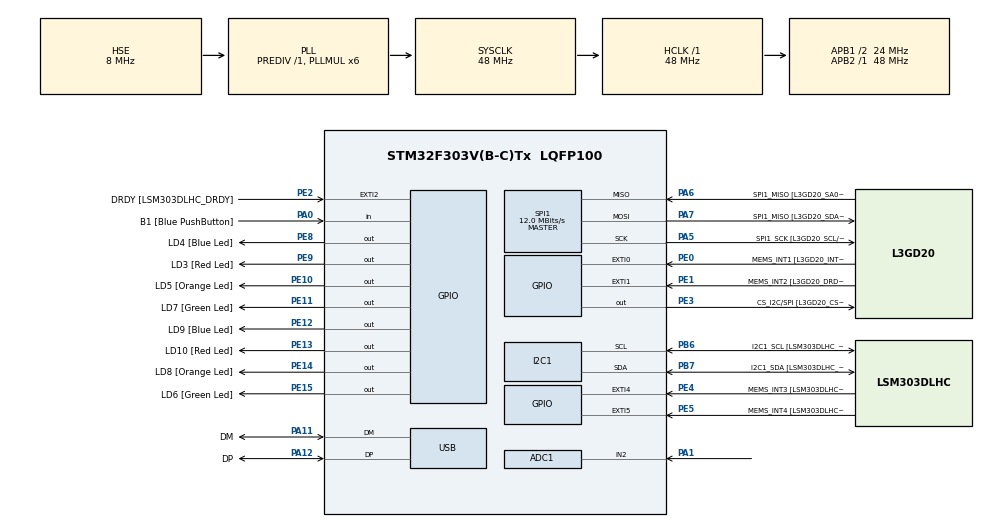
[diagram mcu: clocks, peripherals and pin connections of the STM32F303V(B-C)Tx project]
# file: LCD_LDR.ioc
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ADC1.Channel-0\#ChannelRegularConversion=ADC_CHANNEL_2
ADC1.ClockPrescaler=ADC_CLOCK_SYNC_PCLK_DIV2
ADC1.NbrOfConversionFlag=1
ADC1.Offset-0\#ChannelRegularConversion=0
ADC1.OffsetNumber-0\#ChannelRegularConversion=ADC_OFFSET_NONE
ADC1.Rank-0\#ChannelRegularConversion=1
ADC1.SamplingTime-0\#ChannelRegularConversion=ADC_SAMPLETIME_19CYCLES_5
ADC1.SamplingTimeOPAMP-0\#ChannelRegularConversion=ADC_SAMPLETIME_19CYCLES_5
ADC1.master=1
I2C1.Timing=0x00201D2B
I2C1.Timing-I2C=0x2000090E
Mcu.Family=STM32F3
Mcu.Name=STM32F303V(B-C)Tx
Mcu.Package=LQFP100
NVIC.PriorityGroup=NVIC_PRIORITYGROUP_0
PA0.GPIO_Label=B1 [Blue PushButton]
PA0.Signal=GPIO_Input
PA1.Mode=IN2-Single-Ended
PA1.Signal=ADC1_IN2
PA11.GPIO_Label=DM
PA11.Mode=Device
PA11.Signal=USB_DM
PA12.GPIO_Label=DP
PA12.Mode=Device
PA12.Signal=USB_DP
PA13.GPIO_Label=SWDIO
PA13.Mode=Serial_Wire
PA13.Signal=SYS_JTMS-SWDIO
PA14.GPIO_Label=SWCLK
PA14.Mode=Serial_Wire
PA14.Signal=SYS_JTCK-SWCLK
PA5.GPIO_Label=SPI1_SCK [L3GD20_SCL/SPC]
PA5.Mode=Full_Duplex_Master
PA5.Signal=SPI1_SCK
PA6.GPIO_Label=SPI1_MISO [L3GD20_SA0/SDO]
PA6.Mode=Full_Duplex_Master
PA6.Signal=SPI1_MISO
PA7.GPIO_Label=SPI1_MISO [L3GD20_SDA/SDI/SDO]
PA7.Mode=Full_Duplex_Master
PA7.Signal=SPI1_MOSI
PB3.GPIO_Label=SWO
PB3.Signal=SYS_JTDO-TRACESWO
PB6.GPIO_Label=I2C1_SCL [LSM303DLHC_SCL]
PB6.GPIO_Pu=GPIO_PULLUP
PB6.Mode=I2C
PB6.Signal=I2C1_SCL
PB7.GPIO_Label=I2C1_SDA [LSM303DLHC_SDA]
PB7.GPIO_Pu=GPIO_PULLUP
PB7.Mode=I2C
PB7.Signal=I2C1_SDA
PC14-OSC32_IN.GPIO_Label=OSC32_IN
PC14-OSC32_IN.Signal=RCC_OSC32_IN
PC15-OSC32_OUT.GPIO_Label=OSC32_OUT
PC15-OSC32_OUT.Signal=RCC_OSC32_OUT
PE0.GPIO_Label=MEMS_INT1 [L3GD20_INT1]
PE0.GPIO_ModeDefaultEXTI=GPIO_MODE_EVT_RISING
PE0.Signal=GPXTI0
PE1.GPIO_Label=MEMS_INT2 [L3GD20_DRDY/INT2]
PE1.GPIO_ModeDefaultEXTI=GPIO_MODE_EVT_RISING
PE1.Signal=GPXTI1
PE10.GPIO_Label=LD5 [Orange Led]
PE10.Signal=GPIO_Output
PE11.GPIO_Label=LD7 [Green Led]
PE11.Signal=GPIO_Output
PE12.GPIO_Label=LD9 [Blue Led]
PE12.Signal=GPIO_Output
PE13.GPIO_Label=LD10 [Red Led]
PE13.Signal=GPIO_Output
PE14.GPIO_Label=LD8 [Orange Led]
PE14.Signal=GPIO_Output
PE15.GPIO_Label=LD6 [Green Led]
PE15.Signal=GPIO_Output
PE2.GPIO_Label=DRDY [LSM303DLHC_DRDY]
PE2.GPIO_ModeDefaultEXTI=GPIO_MODE_EVT_RISING
PE2.Signal=GPXTI2
PE3.GPIO_Label=CS_I2C/SPI [L3GD20_CS_I2C/SPI]
PE3.Signal=GPIO_Output
PE4.GPIO_Label=MEMS_INT3 [LSM303DLHC_INT1]
PE4.GPIO_ModeDefaultEXTI=GPIO_MODE_EVT_RISING
PE4.Signal=GPXTI4
PE5.GPIO_Label=MEMS_INT4 [LSM303DLHC_INT2]
PE5.GPIO_ModeDefaultEXTI=GPIO_MODE_EVT_RISING
PE5.Signal=GPXTI5
PE8.GPIO_Label=LD4 [Blue Led]
PE8.Signal=GPIO_Output
PE9.GPIO_Label=LD3 [Red Led]
PE9.Signal=GPIO_Output
PF0-OSC_IN.GPIO_Label=OSC_IN
PF0-OSC_IN.Mode=HSE-External-Clock-Source
PF0-OSC_IN.Signal=RCC_OSC_IN
PF1-OSC_OUT.GPIO_Label=OSC_OUT
PF1-OSC_OUT.Signal=RCC_OSC_OUT
ProjectManager.HeapSize=0x200
ProjectManager.StackSize=0x400
ProjectManager.TargetToolchain=STM32CubeIDE
RCC.AHBFreq_Value=48000000
RCC.APB1CLKDivider=RCC_HCLK_DIV2
RCC.APB1Freq_Value=24000000
RCC.APB1TimFreq_Value=48000000
RCC.APB2Freq_Value=48000000
RCC.APB2TimFreq_Value=48000000
RCC.CortexFreq_Value=48000000
RCC.HCLKFreq_Value=48000000
RCC.HSE_VALUE=8000000
RCC.HSI_VALUE=8000000
RCC.LSE_VALUE=32768
RCC.PLLMUL=RCC_PLL_MUL6
RCC.SYSCLKFreq_VALUE=48000000
RCC.SYSCLKSourceVirtual=RCC_SYSCLKSOURCE_PLLCLK
RCC.USBFreq_Value=48000000
SPI1.BaudRatePrescaler=SPI_BAUDRATEPRESCALER_4
SPI1.BaudRatePrescaler-Full_Duplex_Master=SPI_BAUDRATEPRESCALER_2
SPI1.CalculateBaudRate=12.0 MBits/s
SPI1.CalculateBaudRate-Full_Duplex_Master=24.0 MBits/s
SPI1.Direction=SPI_DIRECTION_2LINES
SPI1.Mode=SPI_MODE_MASTER
SPI1.Mode-Full_Duplex_Master=SPI_MODE_MASTER
SPI1.VirtualType=VM_MASTER
board=STM32F3DISCOVERY

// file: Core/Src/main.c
/* USER CODE BEGIN Header */
/**
  ******************************************************************************
  * @file           : main.c USING HAL
  * @brief          : Main program body
  ******************************************************************************
  * @attention
  *
  * Copyright (c) 2025 STMicroelectronics.
  * All rights reserved.
  *
  * This software is licensed under terms that can be found in the LICENSE file
  * in the root directory of this software component.
  * If no LICENSE file comes with this software, it is provided AS-IS.
  *
  ******************************************************************************
  */
/* USER CODE END Header */
#include "main.h"

/* USER CODE BEGIN Includes */
#include "stm32f3xx_hal.h"
#include "stdio.h"
#include "string.h"
#include "i2c.h"
/* USER CODE END Includes */

/* USER CODE BEGIN PD */
#define LIGHT_THRESHOLD 3400

/* USER CODE END PD */

ADC_HandleTypeDef hadc1;

I2C_HandleTypeDef hi2c1;

SPI_HandleTypeDef hspi1;

PCD_HandleTypeDef hpcd_USB_FS;

/* USER CODE BEGIN PV */
uint16_t lux=0;
char msg[20];

/* USER CODE END PV */

void SystemClock_Config(void);
static void MX_GPIO_Init(void);
static void MX_I2C1_Init(void);
static void MX_SPI1_Init(void);
static void MX_USB_PCD_Init(void);
static void MX_ADC1_Init(void);

int main(void)
{

  /* MCU Configuration--------------------------------------------------------*/

  /* Reset of all peripherals, Initializes the Flash interface and the Systick. */
  HAL_Init();

  /* Configure the system clock */
  SystemClock_Config();

  /* Initialize all configured peripherals */
  MX_GPIO_Init();
  MX_I2C1_Init();
  MX_SPI1_Init();
  MX_USB_PCD_Init();
  MX_ADC1_Init();
  /* USER CODE BEGIN 2 */

  HD44780_Init(2);
  HD44780_Backlight();

  uint8_t last_state = 255; // Invalid initial state to force first update

  //Normal static Printing
  //testing begin
//  HD44780_SetCursor(0,0);
//  HD44780_PrintStr("Place crystal");
//  HD44780_SetCursor(0,1);
//  HD44780_PrintStr("on handle!");
  //testing end
  /* USER CODE END 2 */

  /* Infinite loop */
  /* USER CODE BEGIN WHILE */
  while (1)
  {
	  HAL_ADC_Start(&hadc1);
	  HAL_ADC_PollForConversion(&hadc1, 20);
	  lux = HAL_ADC_GetValue(&hadc1);

	  uint8_t current_state = (lux > LIGHT_THRESHOLD) ? 1 : 0;

//	  //testing begin
//	  if (lux > LIGHT_THRESHOLD) {
//	      HD44780_Clear();
//	      HD44780_SetCursor(0, 0);
//	      HD44780_PrintStr("Light: ");
//
//	      sprintf(msg, "%hu", lux);
//	      HD44780_SetCursor(0, 7);
//	      HD44780_PrintStr(msg);
//	  } else {
//	      // clear display if it's too dark
//	      HD44780_Clear();
//		}
////	  //testing end

	  //real begin
	  if (current_state != last_state) {
	          HD44780_Clear();

	          if (current_state) {
	              HD44780_SetCursor(0, 0);
	              HD44780_PrintStr("Place crystal");
	              HD44780_SetCursor(0, 1);
	              HD44780_PrintStr("on handle!");
	          } else {
	              HD44780_SetCursor(0, 0);
	              HD44780_PrintStr("Too dark...");
	          }

	          last_state = current_state;
	      }
//	  // real end
	  }

	  HAL_Delay(500);

    /* USER CODE END WHILE */

}
void SystemClock_Config(void)
{
  RCC_OscInitTypeDef RCC_OscInitStruct = {0};
  RCC_ClkInitTypeDef RCC_ClkInitStruct = {0};
  RCC_PeriphCLKInitTypeDef PeriphClkInit = {0};

  /** Initializes the RCC Oscillators according to the specified parameters
  * in the RCC_OscInitTypeDef structure.
  */
  RCC_OscInitStruct.OscillatorType = RCC_OSCILLATORTYPE_HSI|RCC_OSCILLATORTYPE_HSE;
  RCC_OscInitStruct.HSEState = RCC_HSE_BYPASS;
  RCC_OscInitStruct.HSEPredivValue = RCC_HSE_PREDIV_DIV1;
  RCC_OscInitStruct.HSIState = RCC_HSI_ON;
  RCC_OscInitStruct.HSICalibrationValue = RCC_HSICALIBRATION_DEFAULT;
  RCC_OscInitStruct.PLL.PLLState = RCC_PLL_ON;
  RCC_OscInitStruct.PLL.PLLSource = RCC_PLLSOURCE_HSE;
  RCC_OscInitStruct.PLL.PLLMUL = RCC_PLL_MUL6;
  if (HAL_RCC_OscConfig(&RCC_OscInitStruct) != HAL_OK)
  {
    Error_Handler();
  }

  /** Initializes the CPU, AHB and APB buses clocks
  */
  RCC_ClkInitStruct.ClockType = RCC_CLOCKTYPE_HCLK|RCC_CLOCKTYPE_SYSCLK
                              |RCC_CLOCKTYPE_PCLK1|RCC_CLOCKTYPE_PCLK2;
  RCC_ClkInitStruct.SYSCLKSource = RCC_SYSCLKSOURCE_PLLCLK;
  RCC_ClkInitStruct.AHBCLKDivider = RCC_SYSCLK_DIV1;
  RCC_ClkInitStruct.APB1CLKDivider = RCC_HCLK_DIV2;
  RCC_ClkInitStruct.APB2CLKDivider = RCC_HCLK_DIV1;

  if (HAL_RCC_ClockConfig(&RCC_ClkInitStruct, FLASH_LATENCY_1) != HAL_OK)
  {
    Error_Handler();
  }
  PeriphClkInit.PeriphClockSelection = RCC_PERIPHCLK_USB|RCC_PERIPHCLK_I2C1;
  PeriphClkInit.I2c1ClockSelection = RCC_I2C1CLKSOURCE_HSI;
  PeriphClkInit.USBClockSelection = RCC_USBCLKSOURCE_PLL;
  if (HAL_RCCEx_PeriphCLKConfig(&PeriphClkInit) != HAL_OK)
  {
    Error_Handler();
  }
}

static void MX_ADC1_Init(void)
{

  ADC_MultiModeTypeDef multimode = {0};
  ADC_ChannelConfTypeDef sConfig = {0};

  /** Common config
  */
  hadc1.Instance = ADC1;
  hadc1.Init.ClockPrescaler = ADC_CLOCK_SYNC_PCLK_DIV2;
  hadc1.Init.Resolution = ADC_RESOLUTION_12B;
  hadc1.Init.ScanConvMode = ADC_SCAN_DISABLE;
  hadc1.Init.ContinuousConvMode = DISABLE;
  hadc1.Init.DiscontinuousConvMode = DISABLE;
  hadc1.Init.ExternalTrigConvEdge = ADC_EXTERNALTRIGCONVEDGE_NONE;
  hadc1.Init.ExternalTrigConv = ADC_SOFTWARE_START;
  hadc1.Init.DataAlign = ADC_DATAALIGN_RIGHT;
  hadc1.Init.NbrOfConversion = 1;
  hadc1.Init.DMAContinuousRequests = DISABLE;
  hadc1.Init.EOCSelection = ADC_EOC_SINGLE_CONV;
  hadc1.Init.LowPowerAutoWait = DISABLE;
  hadc1.Init.Overrun = ADC_OVR_DATA_OVERWRITTEN;
  if (HAL_ADC_Init(&hadc1) != HAL_OK)
  {
    Error_Handler();
  }

  /** Configure the ADC multi-mode
  */
  multimode.Mode = ADC_MODE_INDEPENDENT;
  if (HAL_ADCEx_MultiModeConfigChannel(&hadc1, &multimode) != HAL_OK)
  {
    Error_Handler();
  }

  /** Configure Regular Channel
  */
  sConfig.Channel = ADC_CHANNEL_2;
  sConfig.Rank = ADC_REGULAR_RANK_1;
  sConfig.SingleDiff = ADC_SINGLE_ENDED;
  sConfig.SamplingTime = ADC_SAMPLETIME_19CYCLES_5;
  sConfig.OffsetNumber = ADC_OFFSET_NONE;
  sConfig.Offset = 0;
  if (HAL_ADC_ConfigChannel(&hadc1, &sConfig) != HAL_OK)
  {
    Error_Handler();
  }

}

static void MX_I2C1_Init(void)
{

  hi2c1.Instance = I2C1;
  hi2c1.Init.Timing = 0x00201D2B;
  hi2c1.Init.OwnAddress1 = 0;
  hi2c1.Init.AddressingMode = I2C_ADDRESSINGMODE_7BIT;
  hi2c1.Init.DualAddressMode = I2C_DUALADDRESS_DISABLE;
  hi2c1.Init.OwnAddress2 = 0;
  hi2c1.Init.OwnAddress2Masks = I2C_OA2_NOMASK;
  hi2c1.Init.GeneralCallMode = I2C_GENERALCALL_DISABLE;
  hi2c1.Init.NoStretchMode = I2C_NOSTRETCH_DISABLE;
  if (HAL_I2C_Init(&hi2c1) != HAL_OK)
  {
    Error_Handler();
  }

  /** Configure Analogue filter
  */
  if (HAL_I2CEx_ConfigAnalogFilter(&hi2c1, I2C_ANALOGFILTER_ENABLE) != HAL_OK)
  {
    Error_Handler();
  }

  /** Configure Digital filter
  */
  if (HAL_I2CEx_ConfigDigitalFilter(&hi2c1, 0) != HAL_OK)
  {
    Error_Handler();
  }

}

static void MX_SPI1_Init(void)
{

  /* SPI1 parameter configuration*/
  hspi1.Instance = SPI1;
  hspi1.Init.Mode = SPI_MODE_MASTER;
  hspi1.Init.Direction = SPI_DIRECTION_2LINES;
  hspi1.Init.DataSize = SPI_DATASIZE_4BIT;
  hspi1.Init.CLKPolarity = SPI_POLARITY_LOW;
  hspi1.Init.CLKPhase = SPI_PHASE_1EDGE;
  hspi1.Init.NSS = SPI_NSS_SOFT;
  hspi1.Init.BaudRatePrescaler = SPI_BAUDRATEPRESCALER_4;
  hspi1.Init.FirstBit = SPI_FIRSTBIT_MSB;
  hspi1.Init.TIMode = SPI_TIMODE_DISABLE;
  hspi1.Init.CRCCalculation = SPI_CRCCALCULATION_DISABLE;
  hspi1.Init.CRCPolynomial = 7;
  hspi1.Init.CRCLength = SPI_CRC_LENGTH_DATASIZE;
  hspi1.Init.NSSPMode = SPI_NSS_PULSE_ENABLE;
  if (HAL_SPI_Init(&hspi1) != HAL_OK)
  {
    Error_Handler();
  }

}

static void MX_USB_PCD_Init(void)
{

  hpcd_USB_FS.Instance = USB;
  hpcd_USB_FS.Init.dev_endpoints = 8;
  hpcd_USB_FS.Init.speed = PCD_SPEED_FULL;
  hpcd_USB_FS.Init.phy_itface = PCD_PHY_EMBEDDED;
  hpcd_USB_FS.Init.low_power_enable = DISABLE;
  hpcd_USB_FS.Init.battery_charging_enable = DISABLE;
  if (HAL_PCD_Init(&hpcd_USB_FS) != HAL_OK)
  {
    Error_Handler();
  }

}

static void MX_GPIO_Init(void)
{
  GPIO_InitTypeDef GPIO_InitStruct = {0};

  /* GPIO Ports Clock Enable */
  __HAL_RCC_GPIOE_CLK_ENABLE();
  __HAL_RCC_GPIOC_CLK_ENABLE();
  __HAL_RCC_GPIOF_CLK_ENABLE();
  __HAL_RCC_GPIOA_CLK_ENABLE();
  __HAL_RCC_GPIOB_CLK_ENABLE();

  /*Configure GPIO pin Output Level */
  HAL_GPIO_WritePin(GPIOE, CS_I2C_SPI_Pin|LD4_Pin|LD3_Pin|LD5_Pin
                          |LD7_Pin|LD9_Pin|LD10_Pin|LD8_Pin
                          |LD6_Pin, GPIO_PIN_RESET);

  /*Configure GPIO pins : DRDY_Pin MEMS_INT3_Pin MEMS_INT4_Pin MEMS_INT1_Pin
                           MEMS_INT2_Pin */
  GPIO_InitStruct.Pin = DRDY_Pin|MEMS_INT3_Pin|MEMS_INT4_Pin|MEMS_INT1_Pin
                          |MEMS_INT2_Pin;
  GPIO_InitStruct.Mode = GPIO_MODE_EVT_RISING;
  GPIO_InitStruct.Pull = GPIO_NOPULL;
  HAL_GPIO_Init(GPIOE, &GPIO_InitStruct);

  /*Configure GPIO pins : CS_I2C_SPI_Pin LD4_Pin LD3_Pin LD5_Pin
                           LD7_Pin LD9_Pin LD10_Pin LD8_Pin
                           LD6_Pin */
  GPIO_InitStruct.Pin = CS_I2C_SPI_Pin|LD4_Pin|LD3_Pin|LD5_Pin
                          |LD7_Pin|LD9_Pin|LD10_Pin|LD8_Pin
                          |LD6_Pin;
  GPIO_InitStruct.Mode = GPIO_MODE_OUTPUT_PP;
  GPIO_InitStruct.Pull = GPIO_NOPULL;
  GPIO_InitStruct.Speed = GPIO_SPEED_FREQ_LOW;
  HAL_GPIO_Init(GPIOE, &GPIO_InitStruct);

  /*Configure GPIO pin : B1_Pin */
  GPIO_InitStruct.Pin = B1_Pin;
  GPIO_InitStruct.Mode = GPIO_MODE_INPUT;
  GPIO_InitStruct.Pull = GPIO_NOPULL;
  HAL_GPIO_Init(B1_GPIO_Port, &GPIO_InitStruct);

}

void Error_Handler(void)
{
  __disable_irq();
  while (1)
  {
  }
}
